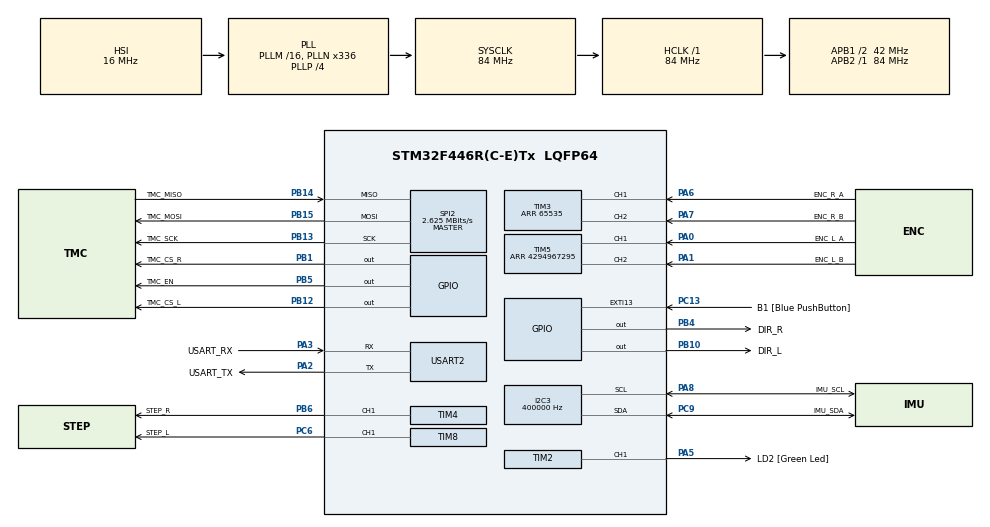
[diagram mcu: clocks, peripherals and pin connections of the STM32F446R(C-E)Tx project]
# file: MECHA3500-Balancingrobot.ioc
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I2C3.ClockSpeed=400000
I2C3.DutyCycle=I2C_DUTYCYCLE_2
I2C3.I2C_Mode=I2C_Fast
Mcu.Family=STM32F4
Mcu.Name=STM32F446R(C-E)Tx
Mcu.Package=LQFP64
NVIC.PriorityGroup=NVIC_PRIORITYGROUP_0
PA0-WKUP.GPIO_Label=ENC_L_A
PA0-WKUP.Signal=S_TIM5_CH1
PA1.GPIO_Label=ENC_L_B
PA1.Signal=S_TIM5_CH2
PA13.GPIO_Label=TMS
PA13.Mode=Serial_Wire
PA13.Signal=SYS_JTMS-SWDIO
PA14.GPIO_Label=TCK
PA14.Mode=Serial_Wire
PA14.Signal=SYS_JTCK-SWCLK
PA2.GPIO_Label=USART_TX
PA2.Mode=Asynchronous
PA2.Signal=USART2_TX
PA3.GPIO_Label=USART_RX
PA3.Mode=Asynchronous
PA3.Signal=USART2_RX
PA5.GPIO_Label=LD2 [Green Led]
PA5.Signal=S_TIM2_CH1_ETR
PA6.GPIO_Label=ENC_R_A
PA6.Signal=S_TIM3_CH1
PA7.GPIO_Label=ENC_R_B
PA7.Signal=S_TIM3_CH2
PA8.GPIO_Label=IMU_SCL
PA8.Mode=I2C
PA8.Signal=I2C3_SCL
PB1.GPIO_Label=TMC_CS_R
PB1.PinState=GPIO_PIN_SET
PB1.Signal=GPIO_Output
PB10.GPIO_Label=DIR_L
PB10.Signal=GPIO_Output
PB12.GPIO_Label=TMC_CS_L
PB12.PinState=GPIO_PIN_SET
PB12.Signal=GPIO_Output
PB13.GPIO_Label=TMC_SCK
PB13.Mode=Full_Duplex_Master
PB13.Signal=SPI2_SCK
PB14.GPIO_Label=TMC_MISO
PB14.Mode=Full_Duplex_Master
PB14.Signal=SPI2_MISO
PB15.GPIO_Label=TMC_MOSI
PB15.Mode=Full_Duplex_Master
PB15.Signal=SPI2_MOSI
PB3.GPIO_Label=SWO
PB3.Signal=SYS_JTDO-SWO
PB4.GPIO_Label=DIR_R
PB4.Signal=GPIO_Output
PB5.GPIO_Label=TMC_EN
PB5.PinState=GPIO_PIN_SET
PB5.Signal=GPIO_Output
PB6.GPIO_Label=STEP_R
PB6.Signal=S_TIM4_CH1
PC13.GPIO_Label=B1 [Blue PushButton]
PC13.GPIO_ModeDefaultEXTI=GPIO_MODE_IT_FALLING
PC13.Signal=GPXTI13
PC14-OSC32_IN.Mode=LSE-External-Oscillator
PC14-OSC32_IN.Signal=RCC_OSC32_IN
PC15-OSC32_OUT.Mode=LSE-External-Oscillator
PC15-OSC32_OUT.Signal=RCC_OSC32_OUT
PC6.GPIO_Label=STEP_L
PC6.Signal=S_TIM8_CH1
PC9.GPIO_Label=IMU_SDA
PC9.Mode=I2C
PC9.Signal=I2C3_SDA
PH0-OSC_IN.Mode=HSE-External-Oscillator
PH0-OSC_IN.Signal=RCC_OSC_IN
PH1-OSC_OUT.Mode=HSE-External-Oscillator
PH1-OSC_OUT.Signal=RCC_OSC_OUT
ProjectManager.HeapSize=0x200
ProjectManager.StackSize=0x400
ProjectManager.TargetToolchain=STM32CubeIDE
RCC.48MHZClocksFreq_Value=84000000
RCC.AHBFreq_Value=84000000
RCC.APB1CLKDivider=RCC_HCLK_DIV2
RCC.APB1Freq_Value=42000000
RCC.APB1TimFreq_Value=84000000
RCC.APB2Freq_Value=84000000
RCC.APB2TimFreq_Value=84000000
RCC.CortexFreq_Value=84000000
RCC.FLatency-AdvancedSettings=FLASH_LATENCY_2
RCC.HCLKFreq_Value=84000000
RCC.HSE_VALUE=8000000
RCC.HSI_VALUE=16000000
RCC.PLLN=336
RCC.PLLP=RCC_PLLP_DIV4
RCC.SYSCLKFreq_VALUE=84000000
RCC.SYSCLKSource=RCC_SYSCLKSOURCE_PLLCLK
RCC.USBFreq_Value=168000000
RCC.VCOOutputFreq_Value=336000000
SH.S_TIM2_CH1_ETR.0=TIM2_CH1,PWM Generation1 CH1
SH.S_TIM3_CH1.0=TIM3_CH1,Encoder_Interface
SH.S_TIM3_CH2.0=TIM3_CH2,Encoder_Interface
SH.S_TIM4_CH1.0=TIM4_CH1,PWM Generation1 CH1
SH.S_TIM5_CH1.0=TIM5_CH1,Encoder_Interface
SH.S_TIM5_CH2.0=TIM5_CH2,Encoder_Interface
SH.S_TIM8_CH1.0=TIM8_CH1,PWM Generation1 CH1
SPI2.BaudRatePrescaler=SPI_BAUDRATEPRESCALER_16
SPI2.CLKPhase=SPI_PHASE_2EDGE
SPI2.CLKPolarity=SPI_POLARITY_HIGH
SPI2.CalculateBaudRate=2.625 MBits/s
SPI2.Direction=SPI_DIRECTION_2LINES
SPI2.Mode=SPI_MODE_MASTER
SPI2.VirtualType=VM_MASTER
TIM2.Channel-PWM\ Generation1\ CH1=TIM_CHANNEL_1
TIM2.Period=4999
TIM2.Prescaler=8399
TIM2.Pulse-PWM\ Generation1\ CH1=2500
TIM3.EncoderMode=TIM_ENCODERMODE_TI12
TIM3.IC1Filter=8
TIM3.IC2Filter=8
TIM3.Period=65535
TIM4.AutoReloadPreload=TIM_AUTORELOAD_PRELOAD_ENABLE
TIM4.Channel-PWM\ Generation1\ CH1=TIM_CHANNEL_1
TIM4.Period=999
TIM4.Prescaler=83
TIM4.Pulse-PWM\ Generation1\ CH1=5
TIM5.EncoderMode=TIM_ENCODERMODE_TI12
TIM5.IC1Filter=8
TIM5.IC2Filter=8
TIM5.Period=4294967295
TIM8.AutoReloadPreload=TIM_AUTORELOAD_PRELOAD_ENABLE
TIM8.Channel-PWM\ Generation1\ CH1=TIM_CHANNEL_1
TIM8.Period=999
TIM8.Prescaler=83
TIM8.Pulse-PWM\ Generation1\ CH1=5
USART2.VirtualMode=VM_ASYNC
VP_TIM2_VS_ClockSourceINT.Mode=Internal
VP_TIM4_VS_ClockSourceINT.Mode=Internal
VP_TIM8_VS_ClockSourceINT.Mode=Internal
board=NUCLEO-F446RE

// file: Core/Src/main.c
/* USER CODE BEGIN Header */
/**
  ******************************************************************************
  * @file           : main.c
  * @brief          : Main program body
  ******************************************************************************
  * @attention
  *
  * Copyright (c) 2026 STMicroelectronics.
  * All rights reserved.
  *
  * This software is licensed under terms that can be found in the LICENSE file
  * in the root directory of this software component.
  * If no LICENSE file comes with this software, it is provided AS-IS.
  *
  ******************************************************************************
  */
/* USER CODE END Header */
#include "main.h"

/* USER CODE BEGIN Includes */
#include "Robot.h"
#include "TMC2240.h"
#include "TMC2240_HW_Abstraction.h"
/* USER CODE END Includes */

I2C_HandleTypeDef hi2c3;

SPI_HandleTypeDef hspi2;

TIM_HandleTypeDef htim2;
TIM_HandleTypeDef htim3;
TIM_HandleTypeDef htim4;
TIM_HandleTypeDef htim5;
TIM_HandleTypeDef htim8;

UART_HandleTypeDef huart2;

void SystemClock_Config(void);
static void MX_GPIO_Init(void);
static void MX_USART2_UART_Init(void);
static void MX_I2C3_Init(void);
static void MX_SPI2_Init(void);
static void MX_TIM2_Init(void);
static void MX_TIM3_Init(void);
static void MX_TIM4_Init(void);
static void MX_TIM5_Init(void);
static void MX_TIM8_Init(void);

int main(void)
{

  /* MCU Configuration--------------------------------------------------------*/

  /* Reset of all peripherals, Initializes the Flash interface and the Systick. */
  HAL_Init();

  /* Configure the system clock */
  SystemClock_Config();

  /* Initialize all configured peripherals */
  MX_GPIO_Init();
  MX_USART2_UART_Init();
  MX_I2C3_Init();
  MX_SPI2_Init();
  MX_TIM2_Init();
  MX_TIM3_Init();
  MX_TIM4_Init();
  MX_TIM5_Init();
  MX_TIM8_Init();
  /* USER CODE BEGIN 2 */
  /* The user code in this file was written with Claude (Anthropic, AI). */

  /* LD2 heartbeat: TIM2 CH1 hardware PWM, 0.5 s period (0.25 s on / 0.25 s off) */
  HAL_TIM_PWM_Start(&htim2, TIM_CHANNEL_1);

  /* Wheel encoders, x4 quadrature (4000 counts/rev)
     TIM5 = left wheel (32-bit), TIM3 = right wheel (16-bit: use (int16_t)(now - last)) */
  HAL_TIM_Encoder_Start(&htim5, TIM_CHANNEL_ALL);
  HAL_TIM_Encoder_Start(&htim3, TIM_CHANNEL_ALL);

  /* Encoder.c: wheel positions and velocities in enc[] (Live Expressions),
     updated every 1 ms by SysTick_Handler() in stm32f4xx_it.c once the flag
     is set. 0.001 s = the SysTick period. */
  Encoder_Init(0.001f);
  encoder_tick_enabled = 1U;

  /* STEP PWM is configured but deliberately NOT started here:
       left  = TIM8 CH1 (PC6), right = TIM4 CH1 (PB6), 1 MHz tick, 5 us pulse.
       Step rate = 1 MHz / (ARR + 1); change it with __HAL_TIM_SET_AUTORELOAD().
     TMC_EN (PB5) boots HIGH, so both drivers stay disabled until they are
     configured over SPI2 and you drive TMC_EN low. */

  printf("SWV printf OK\n");

  /* MPU-6050: IMU_Init() (MPU6050.c glue code) measures the gyro bias for
     ~1 s, so keep the robot still. If the sensor does not answer, the tests
     in Claude_diagnostics.c run and print what they find.
     CHANGE (Claude, 9 Nov 2026): moved BEFORE Motor_test(). It used to run
     after the motors had started, so the gyro bias was measured while the
     robot was vibrating (9.49 deg/s). Here the drivers are still disabled
     (TMC_EN boots high), so the motors are off during the calibration. */
  printf("Keep the robot still: calibrating the gyro\n");
  if (IMU_Init()) {
    Data_PrintIMUStatus();
  } else {
    Diag_IMUNotResponding();
  }

  /* Configure the TMC2240s and start the motors, after the gyro calibration */
  Motor_test();

  /* USER CODE END 2 */

  /* Infinite loop */
  while (1)
  {

    /* USER CODE BEGIN 3 */
    /* Sample the IMU every IMU_SAMPLE_MS, then print one line (~0.1 s per
       line). The encoders update on their own at 1 kHz. */
    for (uint32_t i = 0; i < DATA_PRINT_SAMPLES; i++) {
      HAL_Delay(IMU_SAMPLE_MS);
      IMU_Update();
    }
    Data_Print();
  }
  /* USER CODE END 3 */
}

void SystemClock_Config(void)
{
  RCC_OscInitTypeDef RCC_OscInitStruct = {0};
  RCC_ClkInitTypeDef RCC_ClkInitStruct = {0};

  /** Configure the main internal regulator output voltage
  */
  __HAL_RCC_PWR_CLK_ENABLE();
  __HAL_PWR_VOLTAGESCALING_CONFIG(PWR_REGULATOR_VOLTAGE_SCALE3);

  /** Initializes the RCC Oscillators according to the specified parameters
  * in the RCC_OscInitTypeDef structure.
  */
  RCC_OscInitStruct.OscillatorType = RCC_OSCILLATORTYPE_HSI;
  RCC_OscInitStruct.HSIState = RCC_HSI_ON;
  RCC_OscInitStruct.HSICalibrationValue = RCC_HSICALIBRATION_DEFAULT;
  RCC_OscInitStruct.PLL.PLLState = RCC_PLL_ON;
  RCC_OscInitStruct.PLL.PLLSource = RCC_PLLSOURCE_HSI;
  RCC_OscInitStruct.PLL.PLLM = 16;
  RCC_OscInitStruct.PLL.PLLN = 336;
  RCC_OscInitStruct.PLL.PLLP = RCC_PLLP_DIV4;
  RCC_OscInitStruct.PLL.PLLQ = 2;
  RCC_OscInitStruct.PLL.PLLR = 2;
  if (HAL_RCC_OscConfig(&RCC_OscInitStruct) != HAL_OK)
  {
    Error_Handler();
  }

  /** Initializes the CPU, AHB and APB buses clocks
  */
  RCC_ClkInitStruct.ClockType = RCC_CLOCKTYPE_HCLK|RCC_CLOCKTYPE_SYSCLK
                              |RCC_CLOCKTYPE_PCLK1|RCC_CLOCKTYPE_PCLK2;
  RCC_ClkInitStruct.SYSCLKSource = RCC_SYSCLKSOURCE_PLLCLK;
  RCC_ClkInitStruct.AHBCLKDivider = RCC_SYSCLK_DIV1;
  RCC_ClkInitStruct.APB1CLKDivider = RCC_HCLK_DIV2;
  RCC_ClkInitStruct.APB2CLKDivider = RCC_HCLK_DIV1;

  if (HAL_RCC_ClockConfig(&RCC_ClkInitStruct, FLASH_LATENCY_2) != HAL_OK)
  {
    Error_Handler();
  }
}

static void MX_I2C3_Init(void)
{

  hi2c3.Instance = I2C3;
  hi2c3.Init.ClockSpeed = 400000;
  hi2c3.Init.DutyCycle = I2C_DUTYCYCLE_2;
  hi2c3.Init.OwnAddress1 = 0;
  hi2c3.Init.AddressingMode = I2C_ADDRESSINGMODE_7BIT;
  hi2c3.Init.DualAddressMode = I2C_DUALADDRESS_DISABLE;
  hi2c3.Init.OwnAddress2 = 0;
  hi2c3.Init.GeneralCallMode = I2C_GENERALCALL_DISABLE;
  hi2c3.Init.NoStretchMode = I2C_NOSTRETCH_DISABLE;
  if (HAL_I2C_Init(&hi2c3) != HAL_OK)
  {
    Error_Handler();
  }

}

static void MX_SPI2_Init(void)
{

  /* SPI2 parameter configuration*/
  hspi2.Instance = SPI2;
  hspi2.Init.Mode = SPI_MODE_MASTER;
  hspi2.Init.Direction = SPI_DIRECTION_2LINES;
  hspi2.Init.DataSize = SPI_DATASIZE_8BIT;
  hspi2.Init.CLKPolarity = SPI_POLARITY_HIGH;
  hspi2.Init.CLKPhase = SPI_PHASE_2EDGE;
  hspi2.Init.NSS = SPI_NSS_SOFT;
  hspi2.Init.BaudRatePrescaler = SPI_BAUDRATEPRESCALER_16;
  hspi2.Init.FirstBit = SPI_FIRSTBIT_MSB;
  hspi2.Init.TIMode = SPI_TIMODE_DISABLE;
  hspi2.Init.CRCCalculation = SPI_CRCCALCULATION_DISABLE;
  hspi2.Init.CRCPolynomial = 10;
  if (HAL_SPI_Init(&hspi2) != HAL_OK)
  {
    Error_Handler();
  }

}

static void MX_TIM2_Init(void)
{

  TIM_ClockConfigTypeDef sClockSourceConfig = {0};
  TIM_MasterConfigTypeDef sMasterConfig = {0};
  TIM_OC_InitTypeDef sConfigOC = {0};

  htim2.Instance = TIM2;
  htim2.Init.Prescaler = 8399;
  htim2.Init.CounterMode = TIM_COUNTERMODE_UP;
  htim2.Init.Period = 4999;
  htim2.Init.ClockDivision = TIM_CLOCKDIVISION_DIV1;
  htim2.Init.AutoReloadPreload = TIM_AUTORELOAD_PRELOAD_DISABLE;
  if (HAL_TIM_Base_Init(&htim2) != HAL_OK)
  {
    Error_Handler();
  }
  sClockSourceConfig.ClockSource = TIM_CLOCKSOURCE_INTERNAL;
  if (HAL_TIM_ConfigClockSource(&htim2, &sClockSourceConfig) != HAL_OK)
  {
    Error_Handler();
  }
  if (HAL_TIM_PWM_Init(&htim2) != HAL_OK)
  {
    Error_Handler();
  }
  sMasterConfig.MasterOutputTrigger = TIM_TRGO_RESET;
  sMasterConfig.MasterSlaveMode = TIM_MASTERSLAVEMODE_DISABLE;
  if (HAL_TIMEx_MasterConfigSynchronization(&htim2, &sMasterConfig) != HAL_OK)
  {
    Error_Handler();
  }
  sConfigOC.OCMode = TIM_OCMODE_PWM1;
  sConfigOC.Pulse = 2500;
  sConfigOC.OCPolarity = TIM_OCPOLARITY_HIGH;
  sConfigOC.OCFastMode = TIM_OCFAST_DISABLE;
  if (HAL_TIM_PWM_ConfigChannel(&htim2, &sConfigOC, TIM_CHANNEL_1) != HAL_OK)
  {
    Error_Handler();
  }
  HAL_TIM_MspPostInit(&htim2);

}

static void MX_TIM3_Init(void)
{

  TIM_Encoder_InitTypeDef sConfig = {0};
  TIM_MasterConfigTypeDef sMasterConfig = {0};

  htim3.Instance = TIM3;
  htim3.Init.Prescaler = 0;
  htim3.Init.CounterMode = TIM_COUNTERMODE_UP;
  htim3.Init.Period = 65535;
  htim3.Init.ClockDivision = TIM_CLOCKDIVISION_DIV1;
  htim3.Init.AutoReloadPreload = TIM_AUTORELOAD_PRELOAD_DISABLE;
  sConfig.EncoderMode = TIM_ENCODERMODE_TI12;
  sConfig.IC1Polarity = TIM_ICPOLARITY_RISING;
  sConfig.IC1Selection = TIM_ICSELECTION_DIRECTTI;
  sConfig.IC1Prescaler = TIM_ICPSC_DIV1;
  sConfig.IC1Filter = 8;
  sConfig.IC2Polarity = TIM_ICPOLARITY_RISING;
  sConfig.IC2Selection = TIM_ICSELECTION_DIRECTTI;
  sConfig.IC2Prescaler = TIM_ICPSC_DIV1;
  sConfig.IC2Filter = 8;
  if (HAL_TIM_Encoder_Init(&htim3, &sConfig) != HAL_OK)
  {
    Error_Handler();
  }
  sMasterConfig.MasterOutputTrigger = TIM_TRGO_RESET;
  sMasterConfig.MasterSlaveMode = TIM_MASTERSLAVEMODE_DISABLE;
  if (HAL_TIMEx_MasterConfigSynchronization(&htim3, &sMasterConfig) != HAL_OK)
  {
    Error_Handler();
  }

}

static void MX_TIM4_Init(void)
{

  TIM_ClockConfigTypeDef sClockSourceConfig = {0};
  TIM_MasterConfigTypeDef sMasterConfig = {0};
  TIM_OC_InitTypeDef sConfigOC = {0};

  htim4.Instance = TIM4;
  htim4.Init.Prescaler = 83;
  htim4.Init.CounterMode = TIM_COUNTERMODE_UP;
  htim4.Init.Period = 999;
  htim4.Init.ClockDivision = TIM_CLOCKDIVISION_DIV1;
  htim4.Init.AutoReloadPreload = TIM_AUTORELOAD_PRELOAD_ENABLE;
  if (HAL_TIM_Base_Init(&htim4) != HAL_OK)
  {
    Error_Handler();
  }
  sClockSourceConfig.ClockSource = TIM_CLOCKSOURCE_INTERNAL;
  if (HAL_TIM_ConfigClockSource(&htim4, &sClockSourceConfig) != HAL_OK)
  {
    Error_Handler();
  }
  if (HAL_TIM_PWM_Init(&htim4) != HAL_OK)
  {
    Error_Handler();
  }
  sMasterConfig.MasterOutputTrigger = TIM_TRGO_RESET;
  sMasterConfig.MasterSlaveMode = TIM_MASTERSLAVEMODE_DISABLE;
  if (HAL_TIMEx_MasterConfigSynchronization(&htim4, &sMasterConfig) != HAL_OK)
  {
    Error_Handler();
  }
  sConfigOC.OCMode = TIM_OCMODE_PWM1;
  sConfigOC.Pulse = 5;
  sConfigOC.OCPolarity = TIM_OCPOLARITY_HIGH;
  sConfigOC.OCFastMode = TIM_OCFAST_DISABLE;
  if (HAL_TIM_PWM_ConfigChannel(&htim4, &sConfigOC, TIM_CHANNEL_1) != HAL_OK)
  {
    Error_Handler();
  }
  HAL_TIM_MspPostInit(&htim4);

}

static void MX_TIM5_Init(void)
{

  TIM_Encoder_InitTypeDef sConfig = {0};
  TIM_MasterConfigTypeDef sMasterConfig = {0};

  htim5.Instance = TIM5;
  htim5.Init.Prescaler = 0;
  htim5.Init.CounterMode = TIM_COUNTERMODE_UP;
  htim5.Init.Period = 4294967295;
  htim5.Init.ClockDivision = TIM_CLOCKDIVISION_DIV1;
  htim5.Init.AutoReloadPreload = TIM_AUTORELOAD_PRELOAD_DISABLE;
  sConfig.EncoderMode = TIM_ENCODERMODE_TI12;
  sConfig.IC1Polarity = TIM_ICPOLARITY_RISING;
  sConfig.IC1Selection = TIM_ICSELECTION_DIRECTTI;
  sConfig.IC1Prescaler = TIM_ICPSC_DIV1;
  sConfig.IC1Filter = 8;
  sConfig.IC2Polarity = TIM_ICPOLARITY_RISING;
  sConfig.IC2Selection = TIM_ICSELECTION_DIRECTTI;
  sConfig.IC2Prescaler = TIM_ICPSC_DIV1;
  sConfig.IC2Filter = 8;
  if (HAL_TIM_Encoder_Init(&htim5, &sConfig) != HAL_OK)
  {
    Error_Handler();
  }
  sMasterConfig.MasterOutputTrigger = TIM_TRGO_RESET;
  sMasterConfig.MasterSlaveMode = TIM_MASTERSLAVEMODE_DISABLE;
  if (HAL_TIMEx_MasterConfigSynchronization(&htim5, &sMasterConfig) != HAL_OK)
  {
    Error_Handler();
  }

}

static void MX_TIM8_Init(void)
{

  TIM_ClockConfigTypeDef sClockSourceConfig = {0};
  TIM_MasterConfigTypeDef sMasterConfig = {0};
  TIM_OC_InitTypeDef sConfigOC = {0};
  TIM_BreakDeadTimeConfigTypeDef sBreakDeadTimeConfig = {0};

  htim8.Instance = TIM8;
  htim8.Init.Prescaler = 83;
  htim8.Init.CounterMode = TIM_COUNTERMODE_UP;
  htim8.Init.Period = 999;
  htim8.Init.ClockDivision = TIM_CLOCKDIVISION_DIV1;
  htim8.Init.RepetitionCounter = 0;
  htim8.Init.AutoReloadPreload = TIM_AUTORELOAD_PRELOAD_ENABLE;
  if (HAL_TIM_Base_Init(&htim8) != HAL_OK)
  {
    Error_Handler();
  }
  sClockSourceConfig.ClockSource = TIM_CLOCKSOURCE_INTERNAL;
  if (HAL_TIM_ConfigClockSource(&htim8, &sClockSourceConfig) != HAL_OK)
  {
    Error_Handler();
  }
  if (HAL_TIM_PWM_Init(&htim8) != HAL_OK)
  {
    Error_Handler();
  }
  sMasterConfig.MasterOutputTrigger = TIM_TRGO_RESET;
  sMasterConfig.MasterSlaveMode = TIM_MASTERSLAVEMODE_DISABLE;
  if (HAL_TIMEx_MasterConfigSynchronization(&htim8, &sMasterConfig) != HAL_OK)
  {
    Error_Handler();
  }
  sConfigOC.OCMode = TIM_OCMODE_PWM1;
  sConfigOC.Pulse = 5;
  sConfigOC.OCPolarity = TIM_OCPOLARITY_HIGH;
  sConfigOC.OCNPolarity = TIM_OCNPOLARITY_HIGH;
  sConfigOC.OCFastMode = TIM_OCFAST_DISABLE;
  sConfigOC.OCIdleState = TIM_OCIDLESTATE_RESET;
  sConfigOC.OCNIdleState = TIM_OCNIDLESTATE_RESET;
  if (HAL_TIM_PWM_ConfigChannel(&htim8, &sConfigOC, TIM_CHANNEL_1) != HAL_OK)
  {
    Error_Handler();
  }
  sBreakDeadTimeConfig.OffStateRunMode = TIM_OSSR_DISABLE;
  sBreakDeadTimeConfig.OffStateIDLEMode = TIM_OSSI_DISABLE;
  sBreakDeadTimeConfig.LockLevel = TIM_LOCKLEVEL_OFF;
  sBreakDeadTimeConfig.DeadTime = 0;
  sBreakDeadTimeConfig.BreakState = TIM_BREAK_DISABLE;
  sBreakDeadTimeConfig.BreakPolarity = TIM_BREAKPOLARITY_HIGH;
  sBreakDeadTimeConfig.AutomaticOutput = TIM_AUTOMATICOUTPUT_DISABLE;
  if (HAL_TIMEx_ConfigBreakDeadTime(&htim8, &sBreakDeadTimeConfig) != HAL_OK)
  {
    Error_Handler();
  }
  HAL_TIM_MspPostInit(&htim8);

}

static void MX_USART2_UART_Init(void)
{

  huart2.Instance = USART2;
  huart2.Init.BaudRate = 115200;
  huart2.Init.WordLength = UART_WORDLENGTH_8B;
  huart2.Init.StopBits = UART_STOPBITS_1;
  huart2.Init.Parity = UART_PARITY_NONE;
  huart2.Init.Mode = UART_MODE_TX_RX;
  huart2.Init.HwFlowCtl = UART_HWCONTROL_NONE;
  huart2.Init.OverSampling = UART_OVERSAMPLING_16;
  if (HAL_UART_Init(&huart2) != HAL_OK)
  {
    Error_Handler();
  }

}

static void MX_GPIO_Init(void)
{
  GPIO_InitTypeDef GPIO_InitStruct = {0};

  /* GPIO Ports Clock Enable */
  __HAL_RCC_GPIOC_CLK_ENABLE();
  __HAL_RCC_GPIOH_CLK_ENABLE();
  __HAL_RCC_GPIOA_CLK_ENABLE();
  __HAL_RCC_GPIOB_CLK_ENABLE();

  /*Configure GPIO pin Output Level */
  HAL_GPIO_WritePin(GPIOB, TMC_CS_R_Pin|TMC_CS_L_Pin|TMC_EN_Pin, GPIO_PIN_SET);

  /*Configure GPIO pin Output Level */
  HAL_GPIO_WritePin(GPIOB, DIR_L_Pin|DIR_R_Pin, GPIO_PIN_RESET);

  /*Configure GPIO pin : B1_Pin */
  GPIO_InitStruct.Pin = B1_Pin;
  GPIO_InitStruct.Mode = GPIO_MODE_IT_FALLING;
  GPIO_InitStruct.Pull = GPIO_NOPULL;
  HAL_GPIO_Init(B1_GPIO_Port, &GPIO_InitStruct);

  /*Configure GPIO pins : TMC_CS_R_Pin DIR_L_Pin TMC_CS_L_Pin DIR_R_Pin
                           TMC_EN_Pin */
  GPIO_InitStruct.Pin = TMC_CS_R_Pin|DIR_L_Pin|TMC_CS_L_Pin|DIR_R_Pin
                          |TMC_EN_Pin;
  GPIO_InitStruct.Mode = GPIO_MODE_OUTPUT_PP;
  GPIO_InitStruct.Pull = GPIO_NOPULL;
  GPIO_InitStruct.Speed = GPIO_SPEED_FREQ_LOW;
  HAL_GPIO_Init(GPIOB, &GPIO_InitStruct);

}

void Error_Handler(void)
{
  __disable_irq();
  while (1)
  {
  }
}
